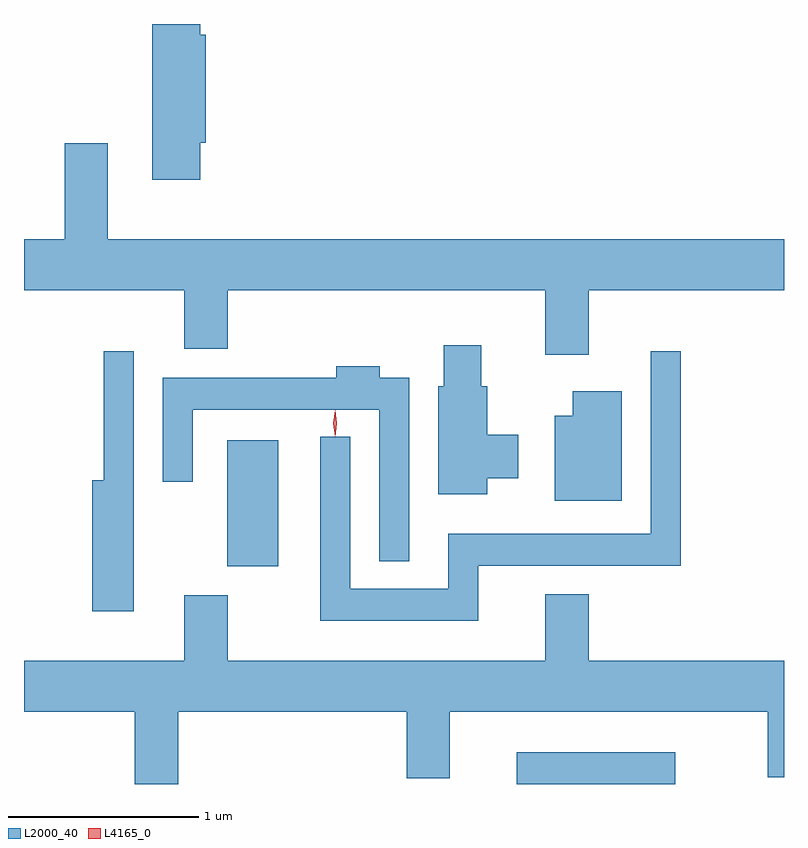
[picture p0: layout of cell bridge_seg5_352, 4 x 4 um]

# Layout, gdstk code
import gdstk
lib = gdstk.Library(unit=1e-6, precision=1e-09)
def R(c, l, rs):  # rectangles x0, y0, x1, y1
    for r in rs: c.add(gdstk.rectangle(r[:2], r[2:], *l))
def P(c, l, *ps):  # polygons
    for p in ps: c.add(gdstk.Polygon(p, *l))
L2000_40 = (2000, 40)
L4165_0 = (4165, 0)

bridge_seg5_352 = lib.new_cell('bridge_seg5_352')
R(bridge_seg5_352, L2000_40, [(583.831,1523.016,584.664,1523.184), (582.306,1524.161,582.574,1524.824)])
P(bridge_seg5_352, L2000_40, [(582.164,1526.391),(582.194,1526.391),(582.194,1526.959),(582.164,1526.959),(582.164,1527.016),(581.911,1527.016),(581.911,1526.196),(582.164,1526.196)],
  [(584.209,1525.616),(585.237,1525.616),(585.237,1525.884),(581.679,1525.884),(581.679,1526.389),(581.451,1526.389),(581.451,1525.884),(581.237,1525.884),(581.237,1525.616),(582.081,1525.616),(582.081,1525.306),(582.309,1525.306),(582.309,1525.616),(583.981,1525.616),(583.981,1525.276),(584.209,1525.276)],
  [(583.674,1524.626),(583.839,1524.626),(583.839,1524.854),(583.674,1524.854),(583.674,1525.109),(583.644,1525.109),(583.644,1525.324),(583.446,1525.324),(583.446,1525.109),(583.416,1525.109),(583.416,1524.541),(583.674,1524.541)],
  [(581.814,1525.293),(581.656,1525.293),(581.656,1524.614),(581.596,1524.614),(581.596,1523.926),(581.814,1523.926)],
  [(583.629,1524.166),(584.694,1524.166),(584.694,1525.293),(584.536,1525.293),(584.536,1524.334),(583.471,1524.334),(583.471,1524.044),(582.954,1524.044),(582.954,1524.843),(582.796,1524.843),(582.796,1523.876),(583.629,1523.876)],
  [(583.264,1525.154),(583.109,1525.154),(583.109,1525.214),(582.881,1525.214),(582.881,1525.154),(581.966,1525.154),(581.966,1524.608),(582.124,1524.608),(582.124,1524.986),(583.106,1524.986),(583.106,1524.188),(583.264,1524.188)],
  [(584.384,1525.084),(584.126,1525.084),(584.126,1524.954),(584.031,1524.954),(584.031,1524.506),(584.384,1524.506)],
  [(582.049,1523.396),(583.251,1523.396),(583.251,1523.046),(583.479,1523.046),(583.479,1523.396),(585.151,1523.396),(585.151,1523.051),(585.237,1523.051),(585.237,1523.664),(584.209,1523.664),(584.209,1524.014),(583.981,1524.014),(583.981,1523.664),(582.309,1523.664),(582.309,1524.009),(582.081,1524.009),(582.081,1523.664),(581.237,1523.664),(581.237,1523.396),(581.821,1523.396),(581.821,1523.016),(582.049,1523.016)])
P(bridge_seg5_352, L4165_0, [(582.874,1524.847),(582.874,1524.848),(582.864,1524.914),(582.874,1524.98),(582.874,1524.98),(582.875,1524.98),(582.884,1524.914),(582.875,1524.848)],
  [(582.874,1524.844),(582.874,1524.844),(582.864,1524.914),(582.874,1524.982),(582.874,1524.983),(582.874,1524.982),(582.884,1524.914),(582.874,1524.844)])

lib.write_gds('bridge_seg5_352.gds')
